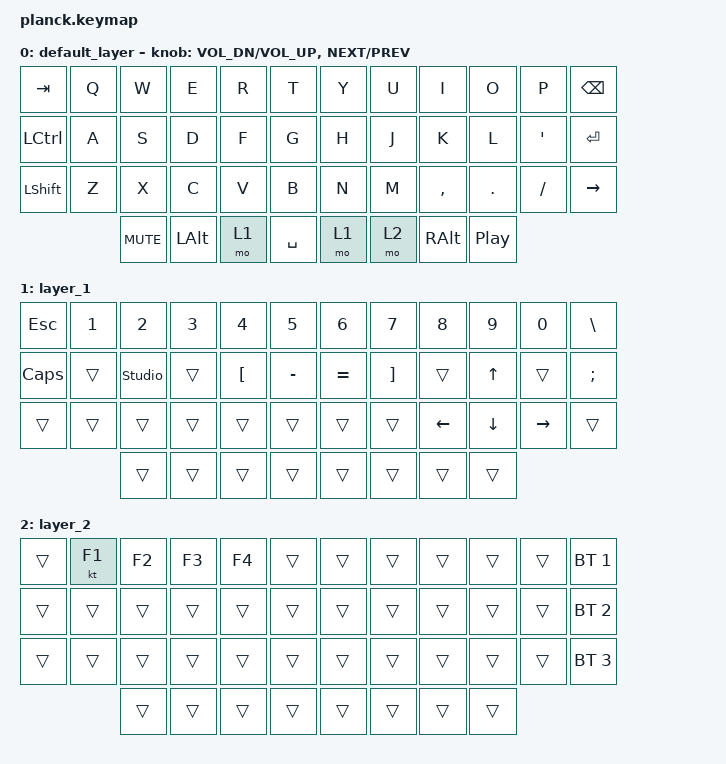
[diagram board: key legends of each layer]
#include <behaviors.dtsi>
#include <dt-bindings/zmk/bt.h>
#include <dt-bindings/zmk/keys.h>

// / {
//     chosen {
//         zmk,physical-layout = &matrix_physical_layout;
//     };
// };

/ {
    keymap {
        compatible = "zmk,keymap";

        default_layer {
            // --------------------------------------------------------------------------------------------------------------------------------------------------------------------
            // |   ESC   |    Q    |    W    |    E    |    R    |    T    |                                          |    Y    |    U    |    I    |    O    |    P    |    \    |
            // |   TAB   |    A    |    S    |    D    |    F    |    G    |                                          |    H    |    J    |    K    |    L    |    ;    |    '    |
            // |  SHIFT  |    Z    |    X    |    C    |    V    |    B    | CTRL+A  | CTRL+C  |  |  CTRL+V |  CTRL+X |    N    |    M    |    ,    |    .    |    /    |  R CTRL |
            //                               |   GUI   |   DEL   | RETURN  |  SPACE  | ESCAPE  |  |  RETURN |  SPACE  |   TAB   |   BSPC  |  R ALT  |

            bindings = <
&kp TAB         &kp Q  &kp W       &kp E         &kp R  &kp T      &kp Y  &kp U  &kp I      &kp O             &kp P     &kp BACKSPACE
&kp LCTRL       &kp A  &kp S       &kp D         &kp F  &kp G      &kp H  &kp J  &kp K      &kp L             &kp APOS  &kp ENTER
&kp LEFT_SHIFT  &kp Z  &kp X       &kp C         &kp V  &kp B      &kp N  &kp M  &kp COMMA  &kp DOT           &kp FSLH  &kp RIGHT
                       &kp C_MUTE  &kp LEFT_ALT  &mo 1  &kp SPACE  &mo 1  &mo 2  &kp RALT   &kp C_PLAY_PAUSE
            >;

            sensor-bindings =
                <&inc_dec_kp C_VOL_DN C_VOL_UP>,
                <&inc_dec_kp C_NEXT C_PREV>;
        };

        layer_1 {
            bindings = <
&kp ESCAPE    &kp NUMBER_1  &kp NUMBER_2    &kp NUMBER_3  &kp NUMBER_4      &kp NUMBER_5  &kp NUMBER_6  &kp NUMBER_7  &kp NUMBER_8  &kp NUMBER_9    &kp NUMBER_0  &kp BACKSLASH
&kp CAPSLOCK  &trans        &studio_unlock  &trans        &kp LEFT_BRACKET  &kp MINUS     &kp EQUAL     &kp RBKT      &trans        &kp UP          &trans        &kp SEMI
&trans        &trans        &trans          &trans        &trans            &trans        &trans        &trans        &kp LEFT      &kp DOWN_ARROW  &kp RIGHT     &trans
                            &trans          &trans        &trans            &trans        &trans        &trans        &trans        &trans
            >;
        };

        layer_2 {
            bindings = <
&trans  &kt F1  &kp F2  &kp F3  &kp F4  &trans  &trans  &trans  &trans  &trans  &trans  &bt BT_SEL 1
&trans  &trans  &trans  &trans  &trans  &trans  &trans  &trans  &trans  &trans  &trans  &bt BT_SEL 2
&trans  &trans  &trans  &trans  &trans  &trans  &trans  &trans  &trans  &trans  &trans  &bt BT_SEL 3
                &trans  &trans  &trans  &trans  &trans  &trans  &trans  &trans
            >;
        };
    };
};
